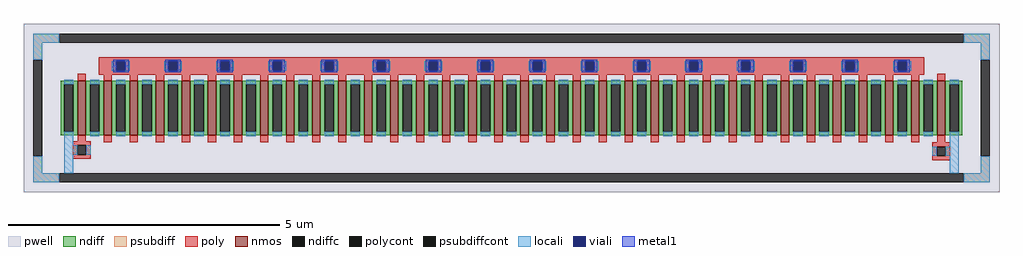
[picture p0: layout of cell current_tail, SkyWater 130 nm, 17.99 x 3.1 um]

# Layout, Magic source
magic
tech sky130A
magscale 1 2
<< pwell >>
rect -1799 -310 1799 310
<< nmos >>
rect -1599 -100 -1569 100
rect -1503 -100 -1473 100
rect -1407 -100 -1377 100
rect -1311 -100 -1281 100
rect -1215 -100 -1185 100
rect -1119 -100 -1089 100
rect -1023 -100 -993 100
rect -927 -100 -897 100
rect -831 -100 -801 100
rect -735 -100 -705 100
rect -639 -100 -609 100
rect -543 -100 -513 100
rect -447 -100 -417 100
rect -351 -100 -321 100
rect -255 -100 -225 100
rect -159 -100 -129 100
rect -63 -100 -33 100
rect 33 -100 63 100
rect 129 -100 159 100
rect 225 -100 255 100
rect 321 -100 351 100
rect 417 -100 447 100
rect 513 -100 543 100
rect 609 -100 639 100
rect 705 -100 735 100
rect 801 -100 831 100
rect 897 -100 927 100
rect 993 -100 1023 100
rect 1089 -100 1119 100
rect 1185 -100 1215 100
rect 1281 -100 1311 100
rect 1377 -100 1407 100
rect 1473 -100 1503 100
rect 1569 -100 1599 100
<< ndiff >>
rect -1661 88 -1599 100
rect -1661 -88 -1649 88
rect -1615 -88 -1599 88
rect -1661 -100 -1599 -88
rect -1569 88 -1503 100
rect -1569 -88 -1553 88
rect -1519 -88 -1503 88
rect -1569 -100 -1503 -88
rect -1473 88 -1407 100
rect -1473 -88 -1457 88
rect -1423 -88 -1407 88
rect -1473 -100 -1407 -88
rect -1377 88 -1311 100
rect -1377 -88 -1361 88
rect -1327 -88 -1311 88
rect -1377 -100 -1311 -88
rect -1281 88 -1215 100
rect -1281 -88 -1265 88
rect -1231 -88 -1215 88
rect -1281 -100 -1215 -88
rect -1185 88 -1119 100
rect -1185 -88 -1169 88
rect -1135 -88 -1119 88
rect -1185 -100 -1119 -88
rect -1089 88 -1023 100
rect -1089 -88 -1073 88
rect -1039 -88 -1023 88
rect -1089 -100 -1023 -88
rect -993 88 -927 100
rect -993 -88 -977 88
rect -943 -88 -927 88
rect -993 -100 -927 -88
rect -897 88 -831 100
rect -897 -88 -881 88
rect -847 -88 -831 88
rect -897 -100 -831 -88
rect -801 88 -735 100
rect -801 -88 -785 88
rect -751 -88 -735 88
rect -801 -100 -735 -88
rect -705 88 -639 100
rect -705 -88 -689 88
rect -655 -88 -639 88
rect -705 -100 -639 -88
rect -609 88 -543 100
rect -609 -88 -593 88
rect -559 -88 -543 88
rect -609 -100 -543 -88
rect -513 88 -447 100
rect -513 -88 -497 88
rect -463 -88 -447 88
rect -513 -100 -447 -88
rect -417 88 -351 100
rect -417 -88 -401 88
rect -367 -88 -351 88
rect -417 -100 -351 -88
rect -321 88 -255 100
rect -321 -88 -305 88
rect -271 -88 -255 88
rect -321 -100 -255 -88
rect -225 88 -159 100
rect -225 -88 -209 88
rect -175 -88 -159 88
rect -225 -100 -159 -88
rect -129 88 -63 100
rect -129 -88 -113 88
rect -79 -88 -63 88
rect -129 -100 -63 -88
rect -33 88 33 100
rect -33 -88 -17 88
rect 17 -88 33 88
rect -33 -100 33 -88
rect 63 88 129 100
rect 63 -88 79 88
rect 113 -88 129 88
rect 63 -100 129 -88
rect 159 88 225 100
rect 159 -88 175 88
rect 209 -88 225 88
rect 159 -100 225 -88
rect 255 88 321 100
rect 255 -88 271 88
rect 305 -88 321 88
rect 255 -100 321 -88
rect 351 88 417 100
rect 351 -88 367 88
rect 401 -88 417 88
rect 351 -100 417 -88
rect 447 88 513 100
rect 447 -88 463 88
rect 497 -88 513 88
rect 447 -100 513 -88
rect 543 88 609 100
rect 543 -88 559 88
rect 593 -88 609 88
rect 543 -100 609 -88
rect 639 88 705 100
rect 639 -88 655 88
rect 689 -88 705 88
rect 639 -100 705 -88
rect 735 88 801 100
rect 735 -88 751 88
rect 785 -88 801 88
rect 735 -100 801 -88
rect 831 88 897 100
rect 831 -88 847 88
rect 881 -88 897 88
rect 831 -100 897 -88
rect 927 88 993 100
rect 927 -88 943 88
rect 977 -88 993 88
rect 927 -100 993 -88
rect 1023 88 1089 100
rect 1023 -88 1039 88
rect 1073 -88 1089 88
rect 1023 -100 1089 -88
rect 1119 88 1185 100
rect 1119 -88 1135 88
rect 1169 -88 1185 88
rect 1119 -100 1185 -88
rect 1215 88 1281 100
rect 1215 -88 1231 88
rect 1265 -88 1281 88
rect 1215 -100 1281 -88
rect 1311 88 1377 100
rect 1311 -88 1327 88
rect 1361 -88 1377 88
rect 1311 -100 1377 -88
rect 1407 88 1473 100
rect 1407 -88 1423 88
rect 1457 -88 1473 88
rect 1407 -100 1473 -88
rect 1503 88 1569 100
rect 1503 -88 1519 88
rect 1553 -88 1569 88
rect 1503 -100 1569 -88
rect 1599 88 1661 100
rect 1599 -88 1615 88
rect 1649 -88 1661 88
rect 1599 -100 1661 -88
<< ndiffc >>
rect -1649 -88 -1615 88
rect -1553 -88 -1519 88
rect -1457 -88 -1423 88
rect -1361 -88 -1327 88
rect -1265 -88 -1231 88
rect -1169 -88 -1135 88
rect -1073 -88 -1039 88
rect -977 -88 -943 88
rect -881 -88 -847 88
rect -785 -88 -751 88
rect -689 -88 -655 88
rect -593 -88 -559 88
rect -497 -88 -463 88
rect -401 -88 -367 88
rect -305 -88 -271 88
rect -209 -88 -175 88
rect -113 -88 -79 88
rect -17 -88 17 88
rect 79 -88 113 88
rect 175 -88 209 88
rect 271 -88 305 88
rect 367 -88 401 88
rect 463 -88 497 88
rect 559 -88 593 88
rect 655 -88 689 88
rect 751 -88 785 88
rect 847 -88 881 88
rect 943 -88 977 88
rect 1039 -88 1073 88
rect 1135 -88 1169 88
rect 1231 -88 1265 88
rect 1327 -88 1361 88
rect 1423 -88 1457 88
rect 1519 -88 1553 88
rect 1615 -88 1649 88
<< psubdiff >>
rect -1763 240 -1667 274
rect 1667 240 1763 274
rect -1763 178 -1729 240
rect 1729 178 1763 240
rect -1763 -240 -1729 -178
rect 1729 -240 1763 -178
rect -1763 -274 -1667 -240
rect 1667 -274 1763 -240
<< psubdiffcont >>
rect -1667 240 1667 274
rect -1763 -178 -1729 178
rect 1729 -178 1763 178
rect -1667 -274 1667 -240
<< poly >>
rect -1521 172 1521 188
rect -1521 138 -1457 172
rect -1423 138 -1265 172
rect -1231 138 -1073 172
rect -1039 138 -881 172
rect -847 138 -689 172
rect -655 138 -497 172
rect -463 138 -305 172
rect -271 138 -113 172
rect -79 138 79 172
rect 113 138 271 172
rect 305 138 463 172
rect 497 138 655 172
rect 689 138 847 172
rect 881 138 1039 172
rect 1073 138 1231 172
rect 1265 138 1423 172
rect 1457 138 1521 172
rect -1599 100 -1569 126
rect -1521 122 1521 138
rect -1503 100 -1473 122
rect -1407 100 -1377 122
rect -1311 100 -1281 122
rect -1215 100 -1185 122
rect -1119 100 -1089 122
rect -1023 100 -993 122
rect -927 100 -897 122
rect -831 100 -801 122
rect -735 100 -705 122
rect -639 100 -609 122
rect -543 100 -513 122
rect -447 100 -417 122
rect -351 100 -321 122
rect -255 100 -225 122
rect -159 100 -129 122
rect -63 100 -33 122
rect 33 100 63 122
rect 129 100 159 122
rect 225 100 255 122
rect 321 100 351 122
rect 417 100 447 122
rect 513 100 543 122
rect 609 100 639 122
rect 705 100 735 122
rect 801 100 831 122
rect 897 100 927 122
rect 993 100 1023 122
rect 1089 100 1119 122
rect 1185 100 1215 122
rect 1281 100 1311 122
rect 1377 100 1407 122
rect 1473 100 1503 122
rect 1569 100 1599 126
rect -1599 -122 -1569 -100
rect -1617 -138 -1551 -122
rect -1503 -126 -1473 -100
rect -1407 -126 -1377 -100
rect -1311 -126 -1281 -100
rect -1215 -126 -1185 -100
rect -1119 -126 -1089 -100
rect -1023 -126 -993 -100
rect -927 -126 -897 -100
rect -831 -126 -801 -100
rect -735 -126 -705 -100
rect -639 -126 -609 -100
rect -543 -126 -513 -100
rect -447 -126 -417 -100
rect -351 -126 -321 -100
rect -255 -126 -225 -100
rect -159 -126 -129 -100
rect -63 -126 -33 -100
rect 33 -126 63 -100
rect 129 -126 159 -100
rect 225 -126 255 -100
rect 321 -126 351 -100
rect 417 -126 447 -100
rect 513 -126 543 -100
rect 609 -126 639 -100
rect 705 -126 735 -100
rect 801 -126 831 -100
rect 897 -126 927 -100
rect 993 -126 1023 -100
rect 1089 -126 1119 -100
rect 1185 -126 1215 -100
rect 1281 -126 1311 -100
rect 1377 -126 1407 -100
rect 1473 -126 1503 -100
rect 1569 -126 1599 -100
rect -1617 -172 -1601 -138
rect -1567 -172 -1551 -138
rect -1617 -188 -1551 -172
rect 1551 -142 1617 -126
rect 1551 -176 1567 -142
rect 1601 -176 1617 -142
rect 1551 -192 1617 -176
<< polycont >>
rect -1457 138 -1423 172
rect -1265 138 -1231 172
rect -1073 138 -1039 172
rect -881 138 -847 172
rect -689 138 -655 172
rect -497 138 -463 172
rect -305 138 -271 172
rect -113 138 -79 172
rect 79 138 113 172
rect 271 138 305 172
rect 463 138 497 172
rect 655 138 689 172
rect 847 138 881 172
rect 1039 138 1073 172
rect 1231 138 1265 172
rect 1423 138 1457 172
rect -1601 -172 -1567 -138
rect 1567 -176 1601 -142
<< locali >>
rect -1763 240 -1667 274
rect 1667 240 1763 274
rect -1763 178 -1729 240
rect 1729 178 1763 240
rect -1473 138 -1457 172
rect -1423 138 -1407 172
rect -1281 138 -1265 172
rect -1231 138 -1215 172
rect -1089 138 -1073 172
rect -1039 138 -1023 172
rect -897 138 -881 172
rect -847 138 -831 172
rect -705 138 -689 172
rect -655 138 -639 172
rect -513 138 -497 172
rect -463 138 -447 172
rect -321 138 -305 172
rect -271 138 -255 172
rect -129 138 -113 172
rect -79 138 -63 172
rect 63 138 79 172
rect 113 138 129 172
rect 255 138 271 172
rect 305 138 321 172
rect 447 138 463 172
rect 497 138 513 172
rect 639 138 655 172
rect 689 138 705 172
rect 831 138 847 172
rect 881 138 897 172
rect 1023 138 1039 172
rect 1073 138 1089 172
rect 1215 138 1231 172
rect 1265 138 1281 172
rect 1407 138 1423 172
rect 1457 138 1473 172
rect -1763 -240 -1729 -178
rect -1649 88 -1615 104
rect -1649 -138 -1615 -88
rect -1553 88 -1519 104
rect -1553 -104 -1519 -88
rect -1457 88 -1423 104
rect -1457 -104 -1423 -88
rect -1361 88 -1327 104
rect -1361 -104 -1327 -88
rect -1265 88 -1231 104
rect -1265 -104 -1231 -88
rect -1169 88 -1135 104
rect -1169 -104 -1135 -88
rect -1073 88 -1039 104
rect -1073 -104 -1039 -88
rect -977 88 -943 104
rect -977 -104 -943 -88
rect -881 88 -847 104
rect -881 -104 -847 -88
rect -785 88 -751 104
rect -785 -104 -751 -88
rect -689 88 -655 104
rect -689 -104 -655 -88
rect -593 88 -559 104
rect -593 -104 -559 -88
rect -497 88 -463 104
rect -497 -104 -463 -88
rect -401 88 -367 104
rect -401 -104 -367 -88
rect -305 88 -271 104
rect -305 -104 -271 -88
rect -209 88 -175 104
rect -209 -104 -175 -88
rect -113 88 -79 104
rect -113 -104 -79 -88
rect -17 88 17 104
rect -17 -104 17 -88
rect 79 88 113 104
rect 79 -104 113 -88
rect 175 88 209 104
rect 175 -104 209 -88
rect 271 88 305 104
rect 271 -104 305 -88
rect 367 88 401 104
rect 367 -104 401 -88
rect 463 88 497 104
rect 463 -104 497 -88
rect 559 88 593 104
rect 559 -104 593 -88
rect 655 88 689 104
rect 655 -104 689 -88
rect 751 88 785 104
rect 751 -104 785 -88
rect 847 88 881 104
rect 847 -104 881 -88
rect 943 88 977 104
rect 943 -104 977 -88
rect 1039 88 1073 104
rect 1039 -104 1073 -88
rect 1135 88 1169 104
rect 1135 -104 1169 -88
rect 1231 88 1265 104
rect 1231 -104 1265 -88
rect 1327 88 1361 104
rect 1327 -104 1361 -88
rect 1423 88 1457 104
rect 1423 -104 1457 -88
rect 1519 88 1553 104
rect 1519 -104 1553 -88
rect 1615 88 1649 104
rect -1649 -172 -1601 -138
rect -1567 -172 -1551 -138
rect 1615 -142 1649 -88
rect -1649 -240 -1615 -172
rect 1551 -176 1567 -142
rect 1601 -176 1649 -142
rect 1615 -240 1649 -176
rect 1729 -240 1763 -178
rect -1763 -274 -1667 -240
rect 1667 -274 1763 -240
<< viali >>
rect -1457 138 -1423 172
rect -1265 138 -1231 172
rect -1073 138 -1039 172
rect -881 138 -847 172
rect -689 138 -655 172
rect -497 138 -463 172
rect -305 138 -271 172
rect -113 138 -79 172
rect 79 138 113 172
rect 271 138 305 172
rect 463 138 497 172
rect 655 138 689 172
rect 847 138 881 172
rect 1039 138 1073 172
rect 1231 138 1265 172
rect 1423 138 1457 172
<< metal1 >>
rect -1469 172 -1411 178
rect -1469 138 -1457 172
rect -1423 138 -1411 172
rect -1469 132 -1411 138
rect -1277 172 -1219 178
rect -1277 138 -1265 172
rect -1231 138 -1219 172
rect -1277 132 -1219 138
rect -1085 172 -1027 178
rect -1085 138 -1073 172
rect -1039 138 -1027 172
rect -1085 132 -1027 138
rect -893 172 -835 178
rect -893 138 -881 172
rect -847 138 -835 172
rect -893 132 -835 138
rect -701 172 -643 178
rect -701 138 -689 172
rect -655 138 -643 172
rect -701 132 -643 138
rect -509 172 -451 178
rect -509 138 -497 172
rect -463 138 -451 172
rect -509 132 -451 138
rect -317 172 -259 178
rect -317 138 -305 172
rect -271 138 -259 172
rect -317 132 -259 138
rect -125 172 -67 178
rect -125 138 -113 172
rect -79 138 -67 172
rect -125 132 -67 138
rect 67 172 125 178
rect 67 138 79 172
rect 113 138 125 172
rect 67 132 125 138
rect 259 172 317 178
rect 259 138 271 172
rect 305 138 317 172
rect 259 132 317 138
rect 451 172 509 178
rect 451 138 463 172
rect 497 138 509 172
rect 451 132 509 138
rect 643 172 701 178
rect 643 138 655 172
rect 689 138 701 172
rect 643 132 701 138
rect 835 172 893 178
rect 835 138 847 172
rect 881 138 893 172
rect 835 132 893 138
rect 1027 172 1085 178
rect 1027 138 1039 172
rect 1073 138 1085 172
rect 1027 132 1085 138
rect 1219 172 1277 178
rect 1219 138 1231 172
rect 1265 138 1277 172
rect 1219 132 1277 138
rect 1411 172 1469 178
rect 1411 138 1423 172
rect 1457 138 1469 172
rect 1411 132 1469 138
<< properties >>
string FIXED_BBOX -1746 -256 1746 256
string gencell sky130_fd_pr__nfet_01v8
string library sky130
string parameters w 1 l 0.150 m 1 nf 34 diffcov 100 polycov 100 guard 1 glc 1 grc 1 gtc 1 gbc 1 tbcov 100 rlcov 100 topc 1 botc 1 poverlap 0 doverlap 1 lmin 0.15 wmin 0.42 compatible {sky130_fd_pr__nfet_01v8 sky130_fd_pr__nfet_01v8_lvt  sky130_fd_bs_flash__special_sonosfet_star  sky130_fd_pr__nfet_g5v0d10v5 sky130_fd_pr__nfet_05v0_nvt  sky130_fd_pr__nfet_03v3_nvt} full_metal 1 viasrc 100 viadrn 100 viagate 100 viagb 0 viagr 0 viagl 0 viagt 0
<< end >>
